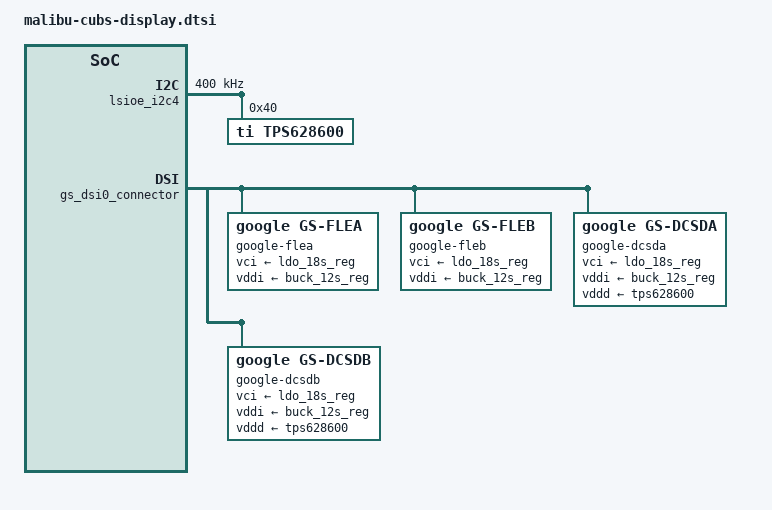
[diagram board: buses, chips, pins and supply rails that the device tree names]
// SPDX-License-Identifier: GPL-2.0-only
/*
 * cubs display device tree source
 *
 * Copyright 2025 Google LLC
 */

#include <dt-bindings/gpio/gpio.h>

&lsioe_i2c4 {
	status = "ok";
	#address-cells = <1>;
	#size-cells = <0>;
	clock-frequency = <400000>;
	tps628600: tps628600@40 {
		compatible = "ti,tps628600";
		reg = <0x40>;
		status = "okay";
		regulator-name = "tps628600-reg";
		enable-gpios = <PMICS2DISP0_BUCK_EN(GPIO_ACTIVE_HIGH)>;
	};
};

&dpu {
	pinctrl-0 = <&disp0_2_ap_te>;
	pinctrl-names = "default";
};

&gs_dsi0_connector {
	google,preferred-panel = <&google_gs_dcsda>;

	google_gs_flea: panel-gs-flea {

		compatible = "google,gs-flea";
		label = "google-flea";
		channel = <0>;

		/* reset, power */
		reset-gpios = <PMICS2DISP0_RESET_L(GPIO_ACTIVE_HIGH)>;
		vci-supply = <&ldo_18s_reg>;
		vddi-supply = <&buck_12s_reg>;
	};

	google_gs_fleb: panel-gs-fleb {

		compatible = "google,gs-fleb";
		label = "google-fleb";
		channel = <0>;

		/* reset, power */
		reset-gpios = <PMICS2DISP0_RESET_L(GPIO_ACTIVE_HIGH)>;
		vci-supply = <&ldo_18s_reg>;
		vddi-supply = <&buck_12s_reg>;
	};

	google_gs_dcsda: panel-gs-dcsda {
		compatible = "google,gs-dcsda";
		label = "google-dcsda";
		channel = <0>;
		allowed-hs-clks = <756 740>;

		/* reset, power */
		reset-gpios = <PMICS2DISP0_RESET_L(GPIO_ACTIVE_HIGH)>;
		tout-gpios = <DISP0_2_AP_PROX0_TOUT(GPIO_ACTIVE_HIGH)>;
		err_fg-gpios = <DISP0_2_AP_ERR_FG(GPIO_ACTIVE_HIGH)>;
		vci-supply = <&ldo_18s_reg>;
		vddi-supply = <&buck_12s_reg>;
		vddd-supply = <&tps628600>;
		vddd-normal-microvolt = <1000000>;
		vddd-lp-microvolt     = <962500>;
	};

	google_gs_dcsdb: panel-gs-dcsdb {
		compatible = "google,gs-dcsdb";
		label = "google-dcsdb";
		channel = <0>;
		allowed-hs-clks = <756 740>;

		/* reset, power */
		reset-gpios = <PMICS2DISP0_RESET_L(GPIO_ACTIVE_HIGH)>;
		tout-gpios = <DISP0_2_AP_PROX0_TOUT(GPIO_ACTIVE_HIGH)>;
		err_fg-gpios = <DISP0_2_AP_ERR_FG(GPIO_ACTIVE_HIGH)>;
		vci-supply = <&ldo_18s_reg>;
		vddi-supply = <&buck_12s_reg>;
		vddd-supply = <&tps628600>;
		vddd-normal-microvolt = <1112500>;
		vddd-lp-microvolt     = <1062500>;
	};
};

&dsi2h0 {
	datarate = <756>;
};
